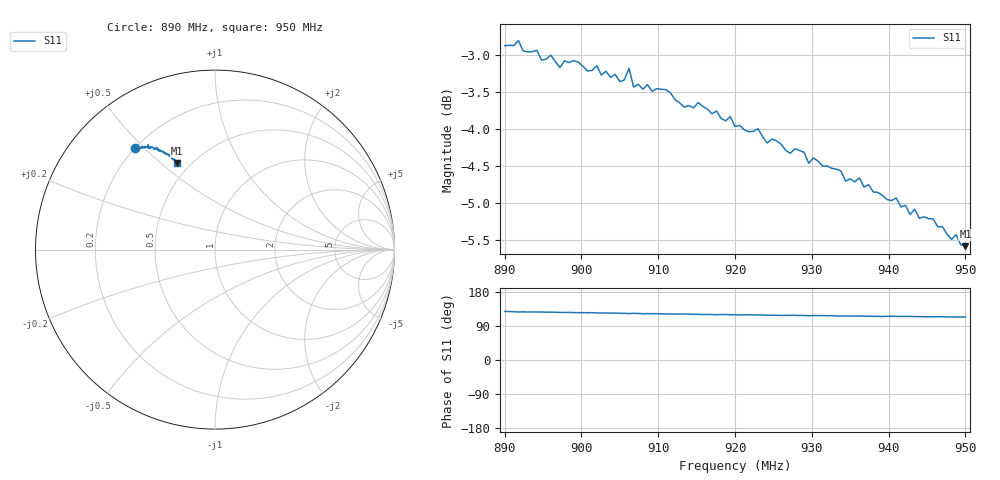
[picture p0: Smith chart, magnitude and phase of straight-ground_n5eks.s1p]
# HZ S RI R 50
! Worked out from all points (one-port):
!   101 points, 890 MHz to 950 MHz, reference 50 ohm
!   lowest |S11| = -5.6 dB at 950 MHz (marker M1), VSWR 3.22, Z = 21.3 + j28.3 ohm
!   |S11| at or under -10 dB: nowhere
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8.9e8  -0.4437 0.5652
8.918e8  -0.433 0.5808
8.924e8  -0.4303 0.5684
8.942e8  -0.4264 0.5718
8.948e8  -0.4192 0.5639
8.972e8  -0.4032 0.5655
8.978e8  -0.4066 0.5721
9.014e8  -0.3953 0.5675
9.02e8  -0.3924 0.5755
9.05e8  -0.3737 0.5675
9.062e8  -0.3722 0.5853
9.068e8  -0.3679 0.5643
9.11e8  -0.3499 0.5726
9.128e8  -0.3421 0.5613
9.176e8  -0.3202 0.5647
9.188e8  -0.3205 0.5531
9.194e8  -0.3154 0.5609
9.2e8  -0.3133 0.5507
9.278e8  -0.2854 0.5414
9.296e8  -0.2706 0.5337
9.302e8  -0.2774 0.5357
9.35e8  -0.2549 0.5255
9.392e8  -0.2394 0.5162
9.41e8  -0.2422 0.5126
9.428e8  -0.2342 0.5004
9.434e8  -0.2315 0.5067
9.458e8  -0.224 0.501
9.5e8  -0.2116 0.4814
